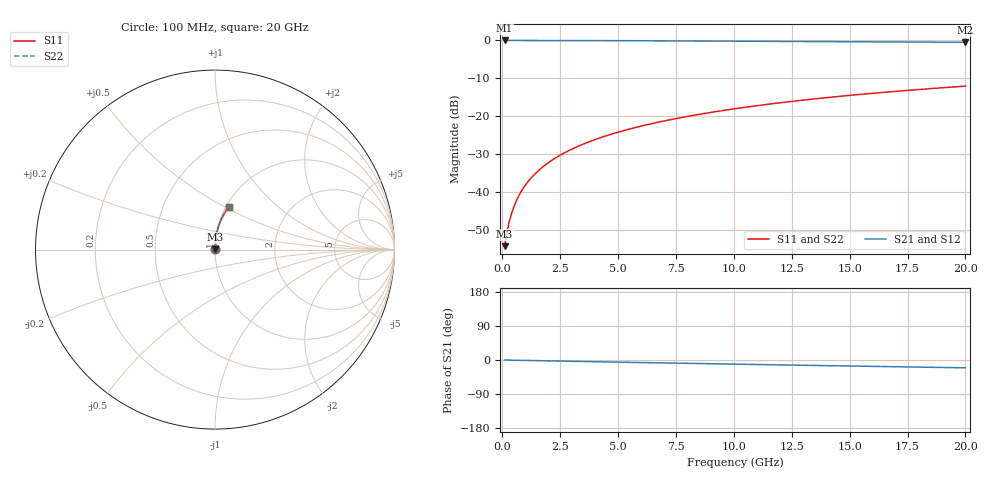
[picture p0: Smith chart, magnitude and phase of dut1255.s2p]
! Touchstone file exported from HFSS 2024.1.0
!  File:  C:/UserFiles/LocalFiles/RDL_TSV_Batchsim/temp_RDL_bottom_1255_1780245564.aedt
!  Generated:  12:42:05 AM Jun  1, 2026
!  Design:  RDL_bottom
!  Project:  temp_RDL_bottom_1255_1780245564
!  Setup:  Setup1
!  Solution:  Sweep
! Variables:
!  dtsv = 10.80580581um
!  hbump = 3um
!  htsv = 82.15um
!  ldown = 241.54um
!  lrdl = 100um
!  p = 40
!  p1 = 49.9um
!  rhole = 1um
!  t = 450um
!  tdown = 4.17um
!  trdl = 3.915915916um
!  wdown = 15.55um
!  wrdl = 20um
# GHz S MA R 50.000000
! Terminal data exported
! Port[1] = RDL1_T1
! Port[2] = RDL1_T2
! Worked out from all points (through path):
!   200 points, 100 MHz to 20 GHz, reference 50 ohm
!   highest |S21| = -0.01 dB at 100 MHz (marker M1); lowest = -0.5 dB at 20 GHz (marker M2)
!   group delay of S21, straight-line fit = 2.86 ps
!   lowest |S11| = -54.2 dB at 100 MHz (marker M3), VSWR 1.00, Z = 50.1 + j0.129 ohm
!   |S11| at or under -10 dB: start of sweep to end of sweep
!   |S22| runs from -54.2 to -12.1 dB; largest |S21 - S12| = 2.4e-15
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0.1  0.001947 41.3  0.9985 -0.1  0.9985 -0.1  0.001947 41.3
! Gamma 0 0 0 0
! Port Impedance 50 0 50 0
0.2  0.002958 59.4  0.9985 -0.2  0.9985 -0.2  0.002958 59.4
0.3  0.004091 67.7  0.9984 -0.4  0.9984 -0.4  0.004091 67.7
0.4  0.005257 72.3  0.9984 -0.5  0.9984 -0.5  0.005257 72.3
0.5  0.006438 75.3  0.9983 -0.6  0.9983 -0.6  0.006438 75.3
0.6  0.007627 77.4  0.9983 -0.7  0.9983 -0.7  0.007627 77.4
0.8  0.01002 80.1  0.9981 -0.9  0.9981 -0.9  0.01002 80.1
1.1  0.01365 82.3  0.9979 -1.3  0.9979 -1.3  0.01365 82.3
1.5  0.01852 83.9  0.9976 -1.7  0.9976 -1.7  0.01852 83.9
1.8  0.02218 84.5  0.9973 -2.1  0.9973 -2.1  0.02218 84.5
2.1  0.02586 85.0  0.997 -2.4  0.997 -2.4  0.02586 85.0
2.7  0.03323 85.4  0.9962 -3.1  0.9962 -3.1  0.03323 85.4
3.5  0.0431 85.5  0.9948 -4.0  0.9948 -4.0  0.0431 85.5
4.2  0.05179 85.4  0.9934 -4.8  0.9934 -4.8  0.05179 85.4
5  0.06178 85.1  0.9917 -5.7  0.9917 -5.7  0.06178 85.1
5.9  0.07309 84.7  0.9894 -6.7  0.9894 -6.7  0.07309 84.7
6.8  0.08447 84.2  0.9871 -7.6  0.9871 -7.6  0.08447 84.2
8.3  0.1036 83.1  0.9828 -9.2  0.9828 -9.2  0.1036 83.1
10.1  0.1266 81.6  0.9774 -11.0  0.9774 -11.0  0.1266 81.6
13.4  0.1687 78.6  0.9668 -14.3  0.9668 -14.3  0.1687 78.6
16.7  0.2098 75.4  0.9554 -17.6  0.9554 -17.6  0.2098 75.4
20  0.2496 72.2  0.9432 -20.7  0.9432 -20.7  0.2496 72.2
